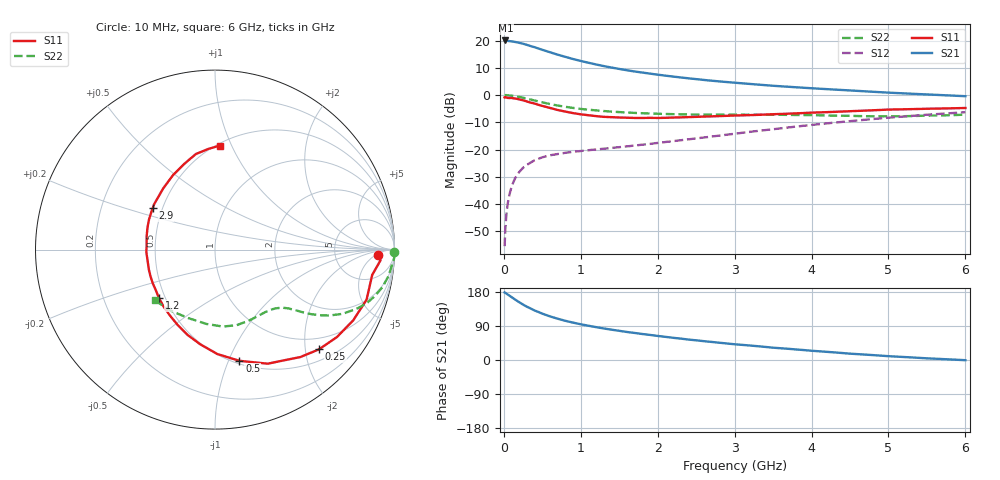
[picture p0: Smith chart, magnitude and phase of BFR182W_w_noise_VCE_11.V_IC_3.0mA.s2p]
! Infineon Technologies  Discrete & RF Semiconductors
! BFR182W
! VCE =  11. V,  IC =  3.0 mA
! Common Emitter S-Parameters:  Jan 2017
# GHz  S  MA  R  50
!  f  S11  S21  S12  S22
! GHz  MAG  ANG  MAG  ANG  MAG  ANG  MAG  ANG
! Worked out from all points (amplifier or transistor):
!   77 points, 10 MHz to 6 GHz, reference 50 ohm
!   highest |S21| = 20.0 dB at 20 MHz (marker M1)
!   |S21| within 3 dB of that: start of sweep to 454.2 MHz
!   unconditionally stable (mu >= 1): 1.598 GHz to 2.988 GHz
!   at 130 MHz: K = 0.12, MSG = 25.5 dB, |S12| = -31.5 dB
!   at 2.2 GHz: K = 1.07, MAG = 10.2 dB, |S12| = -16.9 dB
!   at 6 GHz: K = 0.81, MSG = 2.9 dB, |S12| = -6.3 dB
!   lowest NFmin = 0.82 dB at 450 MHz
!   S11 on the Smith chart (normalised r, x): 10 MHz: 18, -7; 250 MHz: 0.73, -2.29; 500 MHz: 0.53, -1.10; 1.2 GHz: 0.46, -0.30; 2.9 GHz: 0.44, +0.25; 6 GHz: 0.52, +0.91
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0.01  0.9072 -2.0  9.933 178.3  0.0017 70.2  1 -0.9
0.02  0.9239 -3.7  10.05 177.2  0.0036 95.3  1 -1.9
0.06  0.8858 -10.9  9.826 171.5  0.0122 82.8  0.9889 -5.1
0.15  0.8651 -27.1  9.421 159.1  0.0305 74.2  0.9561 -12.6
0.2  0.8358 -35.7  9.093 152.5  0.039 70.6  0.9277 -16.2
0.25  0.8028 -43.8  8.761 146.2  0.0465 66.6  0.8971 -19.4
0.3  0.7648 -51.5  8.337 140.6  0.0526 63.0  0.8615 -22.2
0.4  0.7002 -65.2  7.554 130.6  0.0639 57.8  0.7965 -26.7
0.5  0.6344 -77.6  6.774 122.3  0.0724 53.3  0.7369 -29.9
0.6  0.582 -88.7  6.109 115.1  0.0788 50.6  0.686 -32.2
0.7  0.5334 -99.0  5.514 108.9  0.0832 48.9  0.6444 -33.9
0.8  0.4986 -108.0  5.027 103.4  0.0875 48.1  0.6102 -35.2
0.9  0.4678 -116.6  4.588 98.6  0.0915 47.3  0.5823 -36.2
1.1  0.4276 -132.1  3.92 90.4  0.0977 47.7  0.5405 -37.9
1.2  0.412 -139.3  3.645 86.7  0.1009 47.9  0.5241 -38.7
1.6  0.3849 -163.1  2.855 74.0  0.1149 51.1  0.4809 -42.6
2.1  0.3836 173.2  2.276 61.1  0.138 55.7  0.4513 -49.3
2.9  0.4172 146.1  1.735 43.6  0.1882 59.6  0.4383 -63.2
3.1  0.4259 140.6  1.645 39.9  0.2039 59.6  0.4371 -66.7
4.1  0.482 117.2  1.311 23.0  0.2935 56.3  0.4266 -86.6
5.1  0.5461 99.8  1.093 9.0  0.3953 48.0  0.4095 -114.2
6  0.5805 87.2  0.955 -0.5  0.4856 38.2  0.4385 -140.0
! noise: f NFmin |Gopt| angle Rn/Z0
0.45  0.82  0.39  31  0.2
0.9  0.95  0.3  57  0.2
1.9  1.6  0.25  149  0.12
2.4  1.92  0.23  170  0.17
